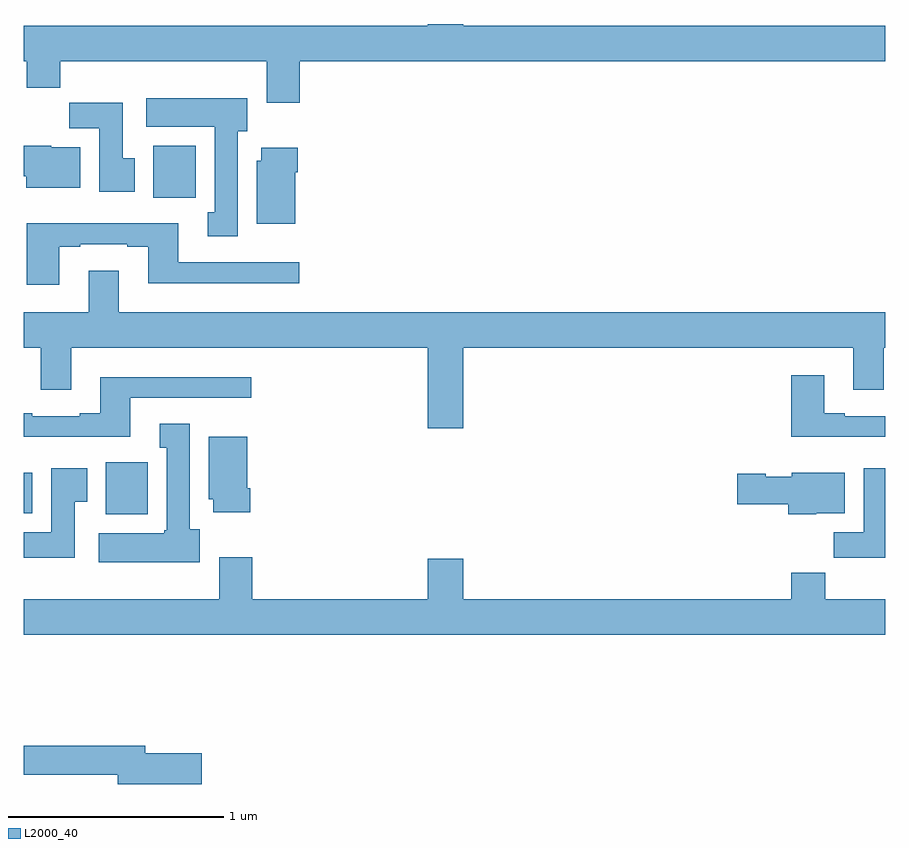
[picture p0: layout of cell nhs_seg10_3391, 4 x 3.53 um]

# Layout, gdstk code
import gdstk
lib = gdstk.Library(unit=1e-6, precision=1e-09)
def R(c, l, rs):  # rectangles x0, y0, x1, y1
    for r in rs: c.add(gdstk.rectangle(r[:2], r[2:], *l))
def P(c, l, *ps):  # polygons
    for p in ps: c.add(gdstk.Polygon(p, *l))
L2000_40 = (2000, 40)

nhs_seg10_3391 = lib.new_cell('nhs_seg10_3391')
R(nhs_seg10_3391, L2000_40, [(295.379,1286.222,295.576,1286.464), (295,1286.228,295.039,1286.416), (295.601,1287.692,295.798,1287.934)])
P(nhs_seg10_3391, L2000_40, [(296.282,1288.328),(299,1288.328),(299,1288.492),(297.04,1288.492),(297.04,1288.5),(296.876,1288.5),(296.876,1288.492),(295,1288.492),(295,1288.328),(295.013,1288.328),(295.013,1288.204),(295.169,1288.204),(295.169,1288.328),(296.129,1288.328),(296.129,1288.134),(296.282,1288.134)],
  [(295.993,1288.002),(296.038,1288.002),(296.038,1288.156),(295.569,1288.156),(295.569,1288.022),(295.886,1288.022),(295.886,1287.626),(295.853,1287.626),(295.853,1287.513),(295.993,1287.513)],
  [(295.516,1287.876),(295.459,1287.876),(295.459,1288.135),(295.21,1288.135),(295.21,1288.016),(295.349,1288.016),(295.349,1287.72),(295.516,1287.72)],
  [(295.261,1287.928),(295.128,1287.928),(295.128,1287.934),(295,1287.934),(295,1287.794),(295.01,1287.794),(295.01,1287.74),(295.261,1287.74)],
  [(296.26,1287.812),(296.273,1287.812),(296.273,1287.925),(296.102,1287.925),(296.102,1287.864),(296.081,1287.864),(296.081,1287.572),(296.26,1287.572)],
  [(295.165,1287.465),(295.261,1287.465),(295.261,1287.477),(295.481,1287.477),(295.481,1287.465),(295.577,1287.465),(295.577,1287.296),(296.278,1287.296),(296.278,1287.393),(295.717,1287.393),(295.717,1287.574),(295.013,1287.574),(295.013,1287.288),(295.165,1287.288)],
  [(297.04,1286.996),(298.853,1286.996),(298.853,1286.802),(298.993,1286.802),(298.993,1286.996),(299,1286.996),(299,1287.16),(295.441,1287.16),(295.441,1287.355),(295.301,1287.355),(295.301,1287.16),(295,1287.16),(295,1286.996),(295.079,1286.996),(295.079,1286.802),(295.219,1286.802),(295.219,1286.996),(296.876,1286.996),(296.876,1286.622),(297.04,1286.622)],
  [(299,1286.679),(298.813,1286.679),(298.813,1286.692),(298.717,1286.692),(298.717,1286.869),(298.565,1286.869),(298.565,1286.582),(299,1286.582)],
  [(295.495,1286.763),(296.056,1286.763),(296.056,1286.86),(295.355,1286.86),(295.355,1286.692),(295.259,1286.692),(295.259,1286.679),(295.039,1286.679),(295.039,1286.692),(295,1286.692),(295,1286.582),(295.495,1286.582)],
  [(295.816,1286.154),(295.771,1286.154),(295.771,1286.644),(295.631,1286.644),(295.631,1286.531),(295.664,1286.531),(295.664,1286.148),(295.651,1286.148),(295.651,1286.134),(295.347,1286.134),(295.347,1286),(295.816,1286)],
  [(296.051,1286.344),(296.038,1286.344),(296.038,1286.584),(295.859,1286.584),(295.859,1286.292),(295.88,1286.292),(295.88,1286.232),(296.051,1286.232)],
  [(295.237,1286.281),(295.294,1286.281),(295.294,1286.437),(295.127,1286.437),(295.127,1286.14),(295,1286.14),(295,1286.022),(295.237,1286.022)],
  [(299,1286.437),(298.901,1286.437),(298.901,1286.14),(298.762,1286.14),(298.762,1286.022),(299,1286.022)],
  [(298.68,1286.228),(298.813,1286.228),(298.813,1286.416),(298.566,1286.416),(298.566,1286.398),(298.446,1286.398),(298.446,1286.411),(298.314,1286.411),(298.314,1286.269),(298.55,1286.269),(298.55,1286.222),(298.68,1286.222)],
  [(299,1285.828),(298.721,1285.828),(298.721,1285.952),(298.565,1285.952),(298.565,1285.828),(297.04,1285.828),(297.04,1286.017),(296.876,1286.017),(296.876,1285.828),(296.06,1285.828),(296.06,1286.023),(295.907,1286.023),(295.907,1285.828),(295,1285.828),(295,1285.664),(299,1285.664)],
  [(295.825,1285.112),(295.564,1285.112),(295.564,1285.148),(295,1285.148),(295,1285.012),(295.436,1285.012),(295.436,1284.97),(295.825,1284.97)])

lib.write_gds('nhs_seg10_3391.gds')
